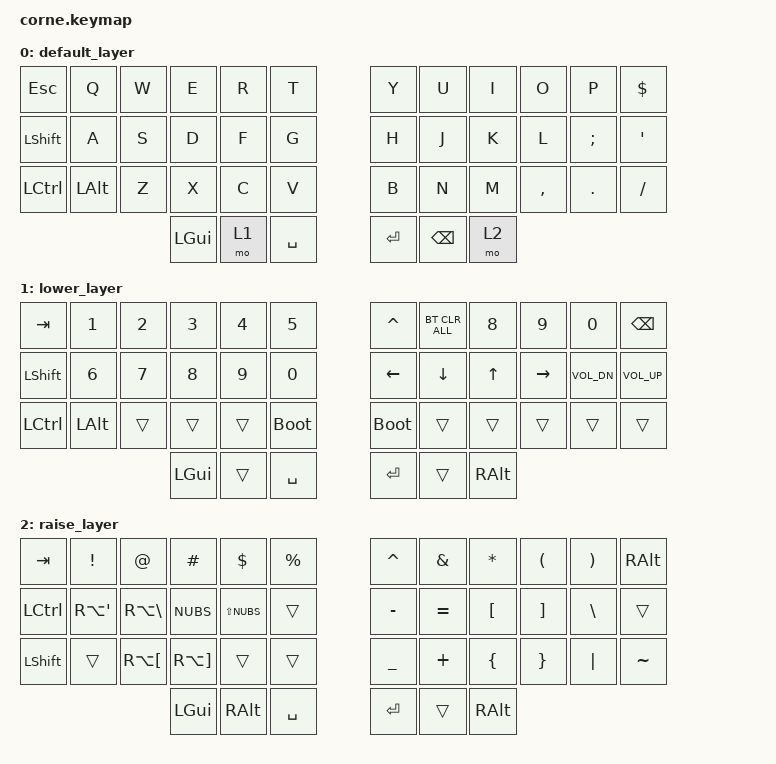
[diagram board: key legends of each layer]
/*
 * Copyright (c) 2020 The ZMK Contributors
 *
 * SPDX-License-Identifier: MIT
 */

#include <behaviors.dtsi>
#include <dt-bindings/zmk/bt.h>
#include <dt-bindings/zmk/keys.h>

/ {
    keymap {
        compatible = "zmk,keymap";

        default_layer {
            // -----------------------------------------------------------------------------------------
            // |  ESC |  Q  |  W  |  E  |  R  |  T  |   |  Z  |  U   |  I  |  O  |  P  | BSPC |
            // | SHIFT |  A  |  S  |  D  |  F  |  G  |   |  H  |  J   |  K  |  L  |  ;  |  '   |
            // | CTRL |  ALT  |  Y  |  X  |  C  |  V  |   |  B  |  N   |  M  |  ,  |  .  | -  |
            //                    | GUI | LWR | SPC |   | ENT | RSE  | ALT |

            bindings = <
&kp ESCAPE      &kp Q     &kp W  &kp E     &kp R  &kp T        &kp Y    &kp U          &kp I  &kp O      &kp P          &kp DOLLAR
&kp LEFT_SHIFT  &kp A     &kp S  &kp D     &kp F  &kp G        &kp H    &kp J          &kp K  &kp L      &kp SEMICOLON  &kp SQT
&kp LCTRL       &kp LALT  &kp Z  &kp X     &kp C  &kp V        &kp B    &kp N          &kp M  &kp COMMA  &kp PERIOD     &kp SLASH
                                 &kp LGUI  &mo 1  &kp SPACE    &kp RET  &kp BACKSPACE  &mo 2
            >;
        };

        lower_layer {
            // -----------------------------------------------------------------------------------------
            // |  TAB |  1  |  2  |  3  |  4  |  5  |   |  6  |  7  |  8  |  9  |  0  | BSPC |
            // | BTCLR| BT1 | BT2 | BT3 | BT4 | BT5 |   | LFT | DWN |  UP | RGT |     |      |
            // | SHFT |     |     |     |     |     |   |     |     |     |     |     |      |
            //                    | GUI |     | SPC |   | ENT |     | ALT |

            bindings = <
&kp TAB     &kp NUMBER_1  &kp NUMBER_2  &kp NUMBER_3  &kp NUMBER_4  &kp N5         &kp CARET    &bt BT_CLR_ALL  &kp N8    &kp N9     &kp N0        &kp BSPC
&kp LSHIFT  &kp NUMBER_6  &kp N7        &kp N8        &kp N9        &kp N0         &kp LEFT     &kp DOWN        &kp UP    &kp RIGHT  &kp C_VOL_DN  &kp C_VOLUME_UP
&kp LCTRL   &kp LALT      &trans        &trans        &trans        &bootloader    &bootloader  &trans          &trans    &trans     &trans        &trans
                                        &kp LGUI      &trans        &kp SPACE      &kp RET      &trans          &kp RALT
            >;
        };

        raise_layer {
            // -----------------------------------------------------------------------------------------
            // |  TAB |  !  |  @  |  #  |  $  |  %  |   |  ^  |  &  |  *  |  (  |  )  | BSPC |
            // | CTRL |     |     |     |     |     |   |  -  |  =  |  [  |  ]  |  \  |  `   |
            // | SHFT |     |     |     |     |     |   |  _  |  +  |  {  |  }  | "|" |  ~   |
            //                    | GUI |     | SPC |   | ENT |     | ALT |

            bindings = <
&kp TAB    &kp EXCL      &kp AT                &kp HASH               &kp DLLR      &kp PRCNT    &kp CARET  &kp AMPS   &kp ASTRK         &kp LPAR           &kp RPAR       &kp RALT
&kp LCTRL  &kp RA(APOS)  &kp RA(BACKSLASH)     &kp NUBS               &kp LS(NUBS)  &trans       &kp MINUS  &kp EQUAL  &kp LEFT_BRACKET  &kp RIGHT_BRACKET  &kp BACKSLASH  &trans
&kp LSHFT  &trans        &kp RA(LEFT_BRACKET)  &kp RA(RIGHT_BRACKET)  &trans        &trans       &kp UNDER  &kp PLUS   &kp LBRC          &kp RBRC           &kp PIPE       &kp TILDE
                                               &kp LGUI               &kp RALT      &kp SPACE    &kp RET    &trans     &kp RALT
            >;
        };
    };
};
